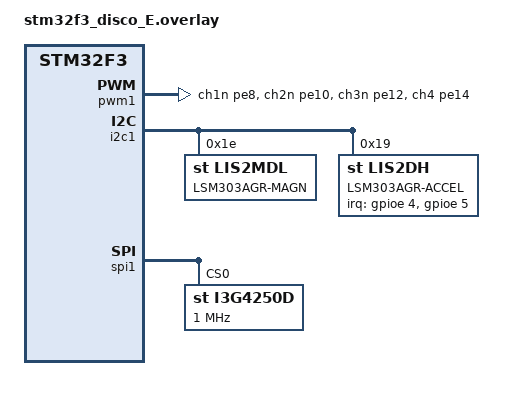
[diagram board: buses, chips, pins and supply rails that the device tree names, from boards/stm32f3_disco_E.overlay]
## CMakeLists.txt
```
# Copyright (c) 2022 Jonathan Hahn
# SPDX-License-Identifier: Apache-2.0

include(cmake/simulate.cmake)

add_subdirectory(drivers)
add_subdirectory(lib)

zephyr_include_directories(include)
zephyr_include_directories(lib)
```

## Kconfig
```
# Copyright (c) 2022 Jonathan Hahn
# SPDX-License-Identifier: Apache-2.0

menu "zephly"

menuconfig ZEPHLY_APP
	bool "The main app of zephly"
	help
	  Enable when building the main app.

if ZEPHLY_APP

config ZEPHLY_GYRO_ORIENTATION
	int "Gyrometer orientation sensor frame to body(drone) frame"
	range 0 1
	default 0
	help
	  This option allows to select the gyrometer orientation.
	  0 - No rotation
	  1 - 180 degree roll

endif # ZEPHLY_APP

rsource "drivers/Kconfig"
rsource "lib/Kconfig"

endmenu
```

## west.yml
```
manifest:
  remotes:
    - name: zephyrproject-rtos
      url-base: https://github.com/zephyrproject-rtos
    - name: private
      url-base: https://github.com/helo9
  projects:
    - name: zephyr
      remote: zephyrproject-rtos
      revision: v3.1.0
      import: true
    - name: jMAVSim
      remote: private
      revision: zephyr
      path: modules/sim/jMAVSim
      submodules: true
    - name: c_library_v2
      remote: private
      revision: zephyr
      path: modules/sim/mavlink
  self:
    path: zephly
```

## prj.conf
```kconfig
CONFIG_STDOUT_CONSOLE=y
CONFIG_I2C=y
CONFIG_SPI=y
CONFIG_GPIO=y
CONFIG_SENSOR=y

CONFIG_NEWLIB_LIBC_FLOAT_PRINTF=y

CONFIG_STD_CPP17=y
CONFIG_LIB_CPLUSPLUS=y
CONFIG_NEWLIB_LIBC=y

CONFIG_SETTINGS=y
CONFIG_SETTINGS_NVS=y

CONFIG_PWM=y

CONFIG_SERIAL=y
CONFIG_UART_INTERRUPT_DRIVEN=y
```

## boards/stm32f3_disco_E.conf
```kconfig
CONFIG_LIS2DH=y
CONFIG_LIS2MDL=y
CONFIG_LIS2MDL_TRIGGER_NONE=n
CONFIG_I3G4250D=y
```

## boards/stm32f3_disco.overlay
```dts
&pwm1 {
    pinctrl-0 = <&tim1_ch1_pa8 &tim1_ch2_pa9 &tim1_ch3_pa10 &tim1_ch4_pe14>;
};
```

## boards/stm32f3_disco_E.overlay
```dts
/ {
    aliases {
        rc-uart = &usart2;
    };
};

&pwm1 {
    //pinctrl-0 = <&tim1_ch1_pa8 &tim1_ch2_pa9 &tim1_ch3_pa10 &tim1_ch4_pe14>;
    pinctrl-0 = <&tim1_ch1n_pe8 &tim1_ch2n_pe10 &tim1_ch3n_pe12 &tim1_ch4_pe14>;
};

&usart2 {
    half-duplex;
};

&i2c1 {
    /delete-node/ lsm303agr-magn@1e;
    /delete-node/ lsm303agr-accel@19;

	mag0: lsm303agr-magn@1e {
		compatible = "st,lis2mdl", "st,lsm303agr-magn";
		reg = <0x1e>;
		label = "LSM303AGR-MAGN";
	};

    acc0: lsm303agr-accel@19 {
		compatible = "st,lis2dh", "st,lsm303agr-accel";
		reg = <0x19>;
		irq-gpios = <&gpioe 4 GPIO_ACTIVE_HIGH>,
			  <&gpioe 5 GPIO_ACTIVE_HIGH>;
		label = "LSM303AGR-ACCEL";
	};
};

&spi1 {
    /delete-node/ i3g4250d@0;
    
    gyro0: i3g4250d@0 {
		compatible = "st,i3g4250d";
		reg = <0>;
		spi-max-frequency = <1000000>;
		label = "I3G4250D";
	};
};
```

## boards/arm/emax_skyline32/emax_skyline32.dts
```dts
/*
 * Copyright (c) 2022 Kevin Dominic Merkel
 *
 * SPDX-License-Identifier: Apache-2.0
 */

/dts-v1/;
#include <st/f1/stm32f103Xb.dtsi>
#include <st/f1/stm32f103c(8-b)tx-pinctrl.dtsi>

/ {
	model = "emax_skyline32 board";
	compatible = "emax,skyline32";

	chosen {
		zephyr,console = &usart1;
		zephyr,shell-uart = &usart1;
		zephyr,sram = &sram0;
		zephyr,flash = &flash0;
	};

	leds {
		compatible = "gpio-leds";
		led0: led_0 {
			gpios = <&gpiob 4 GPIO_ACTIVE_HIGH>;
			label = "User LED0";
		};
	};

	aliases {
		userled0 = &led0;
		debuguart = &usart1;
	};
};

&clk_hse {
	clock-frequency = <DT_FREQ_M(12)>;
	status = "okay";
};

&pll {
	mul = <6>;
	clocks = <&clk_hse>;
	status = "okay";
};

&rcc {
	clocks = <&pll>;
	clock-frequency = <DT_FREQ_M(72)>;
	ahb-prescaler = <1>;
	apb1-prescaler = <2>;
	apb2-prescaler = <1>;
};

&usart1 {
	pinctrl-0 = <&usart1_tx_pa9 &usart1_rx_pa10 >;
	pinctrl-names = "default";
	current-speed = <115200>;
	status = "okay";
};


&usart2 {
	pinctrl-0 = <&usart2_tx_pa2 &usart2_rx_pa3>;
	pinctrl-names = "default";
	current-speed = <115200>;
	status = "disabled";
};

&usart3 {
	pinctrl-0 = <&usart3_tx_pb10 &usart3_rx_pb11>;
	pinctrl-names = "default";
	current-speed = <115200>;
	status = "disabled";
};

&i2c1 {
	pinctrl-0 = < &i2c1_scl_pb8 &i2c1_sda_pb9 >;
	//pinctrl-0 = < &i2c1_scl_pb6 &i2c1_sda_pb7 >;
	status = "disabled";
	pinctrl-names = "default";
	clock-frequency = <I2C_BITRATE_FAST>;


};

&i2c2 {
	pinctrl-0 = < &i2c2_scl_pb10 &i2c2_sda_pb11 >;
	status = "okay";
	pinctrl-names = "default";
	clock-frequency = <I2C_BITRATE_FAST>;

	imu: mpu6050@68 {
		compatible = "invensense,mpu6050";
		reg = <0x68>;
		status = "okay";
		label = "MPU6050";
		int-gpios = <&gpioc 13 GPIO_ACTIVE_HIGH>;
	};
};

&usb {
	pinctrl-0 = <&usb_dm_pa11 &usb_dp_pa12>;
	pinctrl-names = "default";
};
```

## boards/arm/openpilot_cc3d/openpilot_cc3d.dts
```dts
/*
 * Copyright (c) 2021, 2022 Jonathan Hahn
 *
 * SPDX-License-Identifier: Apache-2.0
 */

/dts-v1/;
#include <st/f1/stm32f103Xb.dtsi>
#include <st/f1/stm32f103c(8-b)tx-pinctrl.dtsi>

/ {
	model = "openpilot_cc3d board";
	compatible = "openpilot,cc3d";

	chosen {
		zephyr,console = &usart3;
		zephyr,shell-uart = &usart3;
		zephyr,sram = &sram0;
		zephyr,flash = &flash0;
	};

	leds {
		compatible = "gpio-leds";
		led0: led_0 {
			gpios = <&gpiob 3 GPIO_ACTIVE_HIGH>;
			label = "User LED0";
		};
	};

	aliases {
		userled0 = &led0;
		rc-uart = &usart1;
	};

	pwmout: pwmout {
		compatible = "zephly,pwmout";
		pwms = <&pwm1 4 0 0>, <&pwm1 3 0 0>, <&pwm1 2 0 0>, <&pwm2 1 0 0>;
		label = "PWMOUT";
		status = "okay";
	};
};

&clk_hse {
	clock-frequency = <DT_FREQ_M(8)>;
	status = "okay";
};

&pll {
	mul = <9>;
	clocks = <&clk_hse>;
	status = "okay";
};

&rcc {
	clocks = <&pll>;
	clock-frequency = <DT_FREQ_M(72)>;
	ahb-prescaler = <1>;
	apb1-prescaler = <2>;
	apb2-prescaler = <1>;
};

&usart1 {
	pinctrl-0 = <&usart1_tx_pa9>;
	pinctrl-names = "default";
	current-speed = <115200>;
	status = "okay";
	single-wire;
	rc: srxl2 {
		compatible = "spektrum,srxl2receiver";
		label = "RECEIVER0";
		status = "okay";
	};
};

&usart3 {
	pinctrl-0 = <&usart3_tx_pb10 &usart3_rx_pb11>;
	pinctrl-names = "default";
	current-speed = <115200>;
	status = "okay";
};

&spi1 {
	pinctrl-0 = <&spi1_nss_master_pa4 &spi1_sck_master_pa5
					&spi1_miso_master_pa6 &spi1_mosi_master_pa7>;
	pinctrl-names = "default";
	cs-gpios = <&gpioa 04 GPIO_ACTIVE_LOW>;
	clock-frequency = < DT_FREQ_M(1) >;
	status = "okay";

	imu: mpu6000@0 {
		compatible = "invensense,mpu6000";
		reg = <0>;
		spi-max-frequency = < DT_FREQ_M(1) >;
		label = "MPU-6000";
		status = "okay";
	};
};

&spi2 {
	pinctrl-0 = <&spi2_nss_master_pb12 &spi2_sck_master_pb13
		     &spi2_miso_master_pb14 &spi2_mosi_master_pb15>;
	pinctrl-names = "default";
	status = "okay";
};

&timers1 {
	st,prescaler = <72>;
	pwm2: pwm {
		status = "okay";
		pinctrl-0 = <&tim1_ch1_pwm_pa8>;
		pinctrl-names = "default";
	};
};

&timers2 {
	pwm4: pwm {
		status = "okay";
		pinctrl-0 = <&tim2_ch3_pwm_pa2>;
		pinctrl-names = "default";
	};
};

&timers3 {
	pwm3: pwm {
		status = "okay";
		pinctrl-0 = <&tim3_ch1_remap1_pwm_pb4>;
		pinctrl-names = "default";
	};
};

&timers4 {
	st,prescaler = <72>;
	status = "okay";
	pwm1: pwm {
		status = "okay";
		pinctrl-0 = <&tim4_ch4_pwm_pb9 &tim4_ch3_pwm_pb8 &tim4_ch2_pwm_pb7>;
		pinctrl-names = "default";
	};
};

&usb {
	pinctrl-0 = <&usb_dm_pa11 &usb_dp_pa12>;
	pinctrl-names = "default";
};

&adc1 {
	pinctrl-0 = <&adc1_in0_pa0>;
	pinctrl-names = "default";
};
```

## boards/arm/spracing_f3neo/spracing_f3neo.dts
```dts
/*
 * Copyright (c) 2022 Jonathan Hahn
 *
 * SPDX-License-Identifier: Apache-2.0
 */

/dts-v1/;
#include <st/f3/stm32f303Xc.dtsi>
#include <st/f3/stm32f303r(b-c)tx-pinctrl.dtsi>

/ {
	model = "SPRacing F3 Neo board";
	compatible = "spracing,f3neo";

	soc {
		uart5: serial@40005000 {
			compatible = "st,stm32-uart";
			reg = <0x40005000 0x400>;
			clocks = <&rcc STM32_CLOCK_BUS_APB1 0x00100000>;
			interrupts = <53 0>;
			current-speed = <115200>;
			pinctrl-0 = <&uart5_tx_pc12>;
			pinctrl-names = "default";
			status = "okay";
			label = "UART_5";
		};
	};

    chosen {
		zephyr,console = &uart5;
		zephyr,shell-uart = &uart5;
		zephyr,sram = &sram0;
        zephyr,flash = &flash0;
    };

    leds {
        compatible = "gpio-leds";
		status = "okay";
        led_0: led_0 {
            gpios = <&gpiob 9 (GPIO_LINE_OPEN_DRAIN | GPIO_ACTIVE_HIGH)>;
			label = "User LED0";
			status = "okay";
        };
        led_1: led_1 {
            gpios = <&gpiob 2 (GPIO_LINE_OPEN_DRAIN | GPIO_ACTIVE_HIGH)>;
			label = "User LED1";
			status = "okay";
        };
    };

	aliases {
		led0 = &led_0;
		led1 = &led_1;
	};

	pwmout: pwmout {
		compatible = "zephly,pwmout";
		pwms = <&pwm3 4 0 0>, <&pwm3 2 0 0>, <&pwm3 3 0 0>, <&pwm3 1 0 0>;
		label = "PWMOUT";
		status = "okay";
	};
};

&clk_hse {
	clock-frequency = <DT_FREQ_M(8)>;
	status = "okay";
};

&pll {
	prediv = <1>;
	mul = <9>;
	clocks = <&clk_hse>;
	status = "okay";
};

&rcc {
	clocks = <&pll>;
	clock-frequency = <DT_FREQ_M(72)>;
	ahb-prescaler = <1>;
	apb1-prescaler = <2>;
	apb2-prescaler = <1>;
};

&usart2 {
	pinctrl-0 = <&usart2_tx_pa2 &usart2_rx_pa3>;
	pinctrl-names = "default";
	current-speed = < 115200 >;
    parity = "even";
    rx-invert;
	status = "okay";
	rc: sbus {
        compatible = "futaba,sbusreceiver";
        label = "RECEIVER0";
        status = "disabled";
    };
};

&spi1 {
	pinctrl-0 = <&spi1_nss_pa4 &spi1_sck_pa5
		     &spi1_miso_pa6 &spi1_mosi_pa7>;
	cs-gpios = <&gpioa 4 GPIO_ACTIVE_LOW>;
	pinctrl-names = "default";
	status = "okay";

	imu: mpu6500@0 {
		compatible = "invensense,icm20602";
		reg = <0>;
		spi-max-frequency = < DT_FREQ_K(300) >;
		int-gpios = <&gpioc 13 GPIO_ACTIVE_HIGH>;
		label = "MPU-6500";
		status = "okay";
	};
};

&timers3 {
	status = "okay";
	st,prescaler = <72>;
	pwm3: pwm {
		status = "okay";
		pinctrl-0 = <&tim3_ch1_pc6 &tim3_ch2_pc7 &tim3_ch3_pb0 &tim3_ch4_pb1>;
		pinctrl-names = "default";
	};
};
```

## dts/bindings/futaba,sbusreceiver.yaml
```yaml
# Copyright (c) 2022 Jonathan Hahn
# SPDX-License-Identifier: Apache-2.0

description: Futaba SBUS Receiver

compatible: "futaba,sbusreceiver"

include: uart-device.yaml
```

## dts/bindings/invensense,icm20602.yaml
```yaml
# Copyright (c) 2019 Jonathan Hahn
# SPDX-License-Identifier: Apache-2.0

description: ICM-20602 high performance 6-Axis MEMS Motion Tracking

compatible: "invensense,icm20602"

include: spi-device.yaml

properties:
    int-gpios:
      type: phandle-array
      required: false
      description: |
        The INT signal default configuration is active-high.  The
        property value should ensure the flags properly describe the
        signal that is presented to the driver.
```

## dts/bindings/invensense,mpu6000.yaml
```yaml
# Copyright (c) 2019 Jonathan Hahn
# SPDX-License-Identifier: Apache-2.0

description: MPU-6000 motion tracking device

compatible: "invensense,mpu6000"

include: spi-device.yaml

properties:
    int-gpios:
      type: phandle-array
      required: false
      description: |
        The INT signal default configuration is active-high.  The
        property value should ensure the flags properly describe the
        signal that is presented to the driver.
```

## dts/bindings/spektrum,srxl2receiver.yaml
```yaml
# Copyright (c) 2022 Jonathan Hahn
# SPDX-License-Identifier: Apache-2.0

description: Sprektrum SRXL2 Receiver

compatible: "spektrum,srxl2receiver"

include: uart-device.yaml
```

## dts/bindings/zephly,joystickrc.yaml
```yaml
# Copyright (c) 2022 Jonathan Hahn
# SPDX-License-Identifier: Apache-2.0

description: Virtual RC Receiver

compatible: "zephly,joystickrc"
```

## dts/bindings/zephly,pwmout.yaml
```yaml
# Copyright (c) 2022 Jonathan Hahn
# SPDX-License-Identifier: Apache-2.0

description: PWM Output

compatible: "zephly,pwmout"

include: base.yaml

properties:
    pwms:
      required: false
      type: phandle-array
      description: PWM specifier driving the outputs.
    
    min-pulse:
      required: false
      type: int
      description: Minimum pulse width (nanoseconds).

    max-pulse:
      required: false
      type: int
      description: Maximum pulse width (nanoseconds).
```

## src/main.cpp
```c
#include "sensors.hpp"
#include "kernel.h"
#include <device.h>
#include <stdio.h>
#include <zephyr.h>
#include <math.h>

#include <attitude_estimation.hpp>
#include "pwm.hpp"
#include "rc/rc.hpp"

constexpr double DEG2RAD = 0.017453292519943295;

using namespace AttitudeEstimation;

const float outputs[] = {0.5f, 0.5f, 0.5f, 0.5f};
RCInput rc_input;

void report_state(const Quaternion<double> &q, const Vector<double, 3> &w, const Vector<double, 3> &a);

int main() {

	if(rc_init() < 0) {
	printk("RC Initialization failed!\n");
	return -1;
	}

	if (!initialize_sensors() || !pwm().is_ready()) {
	printk("Initialization failed!");
	return -1;
	}

	pwm().write(outputs);

	/* initial attitude */
	Quaternion<double> q = {1.0, 0.0, 0.0, 0.0};

	rc_run();
	
	pwm().hack_it();
	
	while (true) {

		rc_input = rc_get();

		if (!update_measurements()) {
			/* Something went wrong, try again */
			printf("Update failed!");
			continue;
		}

		propagate_attitude<double>(q, get_rotation_speed(), get_delta_t());

		report_state(q, get_rotation_speed(), get_accelerations());

		k_sleep(K_MSEC(500));
	}

	return 0;
}

void report_state(const Quaternion<double> &q, const Vector<double, 3> &w, const Vector<double, 3> &a) {
	printf("%f %f %f %f", q.w, q.x, q.y, q.z);
	printf(" %u %f %f %f", k_uptime_get_32(), w.data[0], w.data[1], w.data[2]);
	printf(" %f %f %f \n", a.data[0], a.data[1], a.data[2]);
}
```

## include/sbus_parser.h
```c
/*
 * Copyright (c) 2022 Jonathan Hahn
 *
 * SPDX-License-Identifier: Apache-2.0
 */

#ifndef SBUS_PARSER_H
#define SBUS_PARSER_H

#include <stdbool.h>
#include <stdint.h>

#define SBUS_RECV_BUFFER_SIZE 25
#define SBUS_NUM_SERVO_CHANNELS 16
#define SBUS_NUM_DIGI_CHANNELS 2

struct SBusBuffer {
    uint8_t pointer;
    uint8_t data[SBUS_RECV_BUFFER_SIZE];
};

struct SBusData {
    uint16_t servo_channels[SBUS_NUM_SERVO_CHANNELS];
    bool digital_channels[SBUS_NUM_DIGI_CHANNELS];
    bool frame_lost;
    bool failsafe_active;
};

struct SBusParsingCursor {
    int byte_pos;
    int bit_pos;
};

/**
 * @brief Check if the parser's buffer is full
 * 
 * @param parser the instance
 * @return true full
 * @return false not full
 */
bool sbus_is_buffer_full(struct SBusBuffer *buffer);

/**
 * @brief Add byte into the parser's buffer
 * 
 * @param parser the instance
 * @param byte byte to append
 * @return int 0 when succesful, -errno otherwise
 */
int sbus_add_to_buffer(struct SBusBuffer *buffer, const uint8_t byte);

/**
 * @brief Parse the parser's internal buffer
 * 
 * @param parser the instance
 * @param data extracted data
 * @return int 0 when succesful, -errno otherwise
 */
int sbus_parse_buffer(struct SBusBuffer *buffer, struct SBusData *data);

#endif /* SBUS_PARSER_H */
```

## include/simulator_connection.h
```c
/*
 * Copyright (c) 2022 Jonathan Hahn
 *
 * SPDX-License-Identifier: Apache-2.0
 */

#ifndef ZEPHLY_SIMULATOR_CONNECTION_H
#define ZEPHLY_SIMULATOR_CONNECTION_H

#include <stdbool.h>

bool simulator_is_ready();

void simulator_send_outputs(const float outputs[4]);

int simulator_update_sensor_values(float gyro[3]);

#endif
```

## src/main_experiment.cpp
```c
#include <zephyr.h>
#include "irq.h"
#include "kernel.h"
#include <device.h>
#include <stdio.h>
#include <devicetree.h>
#include <drivers/pwm.h>
#include <drivers/gpio.h>
#include <drivers/uart.h>
#include <irq.h>


#define USART2_DEVICE DT_NODELABEL(usart2)

const struct device* usart2 = DEVICE_DT_GET(USART2_DEVICE);

char buffer[256] = {};
volatile uint8_t buffer_idx = 0;
uint32_t time, maxtime = 0;

static void uart_cb_handler(const struct device *dev, void *p)
{
    time = k_cycle_get_32();
	uart_irq_update(dev);

    if (uart_irq_rx_ready(dev)) {
        
        uint8_t c;

        uart_fifo_read(dev, &c, 1);

        if (buffer_idx == 0 && c != 0xA6) {
            return;
        }

        buffer[buffer_idx++] = c;
    }
}

int init_uart() {
    if (!device_is_ready(usart2)) {
        return -EIO;
    }

    uart_irq_rx_disable(usart2);
	uart_irq_tx_disable(usart2);
    uart_irq_callback_user_data_set(usart2, uart_cb_handler, NULL);
    uart_irq_rx_enable(usart2);

    return 0;
}

void main() {


    if (init_uart() < 0){
        printk("USART is not ready!");
        return;
    }

    while (true) {
        uart_irq_rx_disable(usart2);
        printk("recvd: %d, took: %d\n", buffer_idx, maxtime);
        buffer_idx = 0;
        for (int i = 0; i<159; i++) {
            if (buffer[i] == 0xA6 && i > 0) {
                printk("\n");
            } 
            printk("0x%x "  , buffer[i]);
        }
        printk("\n");

        

        uart_irq_rx_enable(usart2);
        k_sleep(K_MSEC(11));
    }
}
```

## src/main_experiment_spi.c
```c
#include <zephyr.h>
#include <zephyr.h>
#include "irq.h"
#include "kernel.h"
#include "sys/util.h"
#include <device.h>
#include <stdio.h>
#include <devicetree.h>
#include <drivers/spi.h>

#define WHO_AM_I_REG 0x75

#define LED_NODE DT_ALIAS(userled0)
#define LED_GPIO DT_PHANDLE(LED_NODE, gpios)
#define PIN	DT_GPIO_PIN(LED_NODE, gpios)

#define SPI1 DT_NODELABEL(spi1)
#define SPI1_CS DT_NODELABEL(gpioa)
#define MPU6000 DT_NODELABEL(imu)
#define SPI1_CS_PIN 4

const struct device *led = DEVICE_DT_GET(LED_GPIO);
const struct device *spi1 = DEVICE_DT_GET(DT_BUS(MPU6000));

struct spi_config spi_cfg = SPI_CONFIG_DT(MPU6000, SPI_OP_MODE_MASTER | SPI_WORD_SET(8), 0);

int request_wai(const struct device* spi1);

void main() {

    bool led_is_on = true;

    if (!device_is_ready(led)) {
        printk("LED is not ready!");
        return;
    }

    int ret = gpio_pin_configure(led, 3, GPIO_OUTPUT_HIGH | GPIO_ACTIVE_HIGH);
    if (ret < 0) {
        return;
    }

    if (!device_is_ready(spi1)) {
        printk("SPI is not ready!");
        return;
    }

    while (true) {
        printk("Noch da :)\n");

        ret = gpio_pin_set(led, PIN, (int)led_is_on );
        led_is_on = !led_is_on;

        ret = request_wai(spi1);

        if (ret != 0) {
            printk("Probleme probleme probleme.. (%d)\n", ret);
            ret = 0;
        }
        
        k_sleep(K_MSEC(1000));
    }
}

int request_wai(const struct device* spi1) {

    uint8_t buffer_tx[] = {0xF5, 0x00};
    uint8_t buffer_rx[2] = {};

    struct spi_buf tx_bufs;
    tx_bufs.buf = buffer_tx;
    tx_bufs.len = 2;
    const struct spi_buf_set tx = {
		.buffers = &tx_bufs,
		.count = 1
	};

    struct spi_buf rx_bufs;
    rx_bufs.buf = buffer_rx;
    rx_bufs.len = 2;
    const struct spi_buf_set rx = {
        .buffers = &rx_bufs,
        .count = 1
    };

    int ret = spi_transceive(spi1, &spi_cfg, &tx, &rx);

    if (ret == 0) {
        printk("WAI: %d\n", buffer_rx[1]);
    }

    return ret;
}
```

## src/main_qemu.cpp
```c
#include "settings.hpp"
#include <sys/printk.h>
#include <zephyr.h>

int main() {
    settings().init();

    const float petra = settings().get<float>("Petra", 0.0);
    const int peter = settings().get<int>("Peter", 0);

    printk("Hallo\t%f\t%d!\n", petra, peter);
    k_sleep(K_MSEC(5000));

    return 0;
}
```

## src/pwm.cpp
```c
#include "pwm.hpp"
#include <zephyr.h>
#include <drivers/pwm.h>

PWM::PWM(const struct device* pwm_dev) : _pwm_dev(pwm_dev) {};

bool PWM::is_ready() const {
    return device_is_ready(_pwm_dev);
}

void PWM::write(const float (&outputs)[4]) {
    if (!is_ready()) {
        return;
    }

    for (int i=0; i<4; i++) {
        uint32_t pulse = _min_duty + static_cast<uint32_t>( (_max_duty - _min_duty) * outputs[i]);
        pwm_pin_set_usec(_pwm_dev, i+1, _period, pulse, 0);
    }

#ifdef CONFIG_BOARD_STM32F3_DISCO
    // Put correct configuration into stm32f303 register..
    volatile int * volatile reg = (volatile int*)0x40012C20;
    *reg = 0x1444;
#endif
}
```

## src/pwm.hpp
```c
#include <device.h>

#define PWM_DEVICE DT_NODELABEL(pwm1)

class PWM {

    static constexpr uint32_t _period = 20000; // 50 Hz update rate
    static constexpr uint32_t _min_duty = 1000; // 1ms minimal duty cycle
    static constexpr uint32_t _max_duty = 2000; // 2ms maximal duty cycle

public:
    PWM(PWM const&)		        = delete;
	void operator=(PWM const&)  = delete;

    static PWM& getInstance() {
        static PWM pwm(DEVICE_DT_GET(PWM_DEVICE));

        return pwm;
    }

    bool is_ready() const;
    
    void write(const float (&outputs)[4]);

private:
    PWM(const struct device* pwm_dev);

    const struct device* _pwm_dev;
};

constexpr auto pwm = PWM::getInstance;
```

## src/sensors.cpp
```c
#include "sensors.hpp"
#include <drivers/sensor.h>

using namespace AttitudeEstimation;

#define GYRO_DEV DT_NODELABEL(gyro0)
#define MAG_DEV DT_NODELABEL(mag0)
#define ACC_DEV DT_NODELABEL(acc0)

#define NODE_OKAY(node_id) (DT_NODE_EXISTS(node_id) && DT_NODE_HAS_STATUS(node_id, okay))

constexpr double SAMPLING_FREQUENCY = 400.0;
constexpr double DEG2RAD = 0.017453292519943295;

static Measurements measurements {};

#if NODE_OKAY(GYRO_DEV) && NODE_OKAY(MAG_DEV) && NODE_OKAY(ACC_DEV)

static Sensors sensors {
    DEVICE_DT_GET_ONE(st_i3g4250d),
    DEVICE_DT_GET_ONE(st_lsm303agr_magn),
    DEVICE_DT_GET_ONE(st_lsm303agr_accel)
};

bool initialize_sensors() {
  /* ensure device is ready */
  if (!device_is_ready(sensors.gyro) || !device_is_ready(sensors.mag) || !device_is_ready(sensors.accel)) {
    return false;
  }

  /* configure sampling frequency of gyro */
  struct sensor_value setting;
  sensor_value_from_double(&setting, SAMPLING_FREQUENCY);

  int rc = sensor_attr_set(sensors.gyro, SENSOR_CHAN_GYRO_XYZ,
                           SENSOR_ATTR_SAMPLING_FREQUENCY, &setting);

  if (rc != 0) {
    return false;
  }

  return true;
}

bool update_measurements() {
  static int64_t last_time = 0;

  int rc;

  struct sensor_value raw_measurements[3];

  for (int i=0; i<3; i++) {
    rc = sensor_sample_fetch(sensors.array[i]);
    if (rc != 0) {
      return false;
    }
  }

  rc = sensor_channel_get(sensors.gyro, SENSOR_CHAN_GYRO_XYZ, raw_measurements);
  if (rc != 0) {
    return false;
  }

  for (int i = 0; i < 3; i++) {
    measurements.rotation_speed.data[i] = sensor_value_to_double(&raw_measurements[i]) * DEG2RAD;
  }

  rc = sensor_channel_get(sensors.mag, SENSOR_CHAN_MAGN_XYZ, raw_measurements);
  if (rc != 0) {
    return false;
  }

  for (int i = 0; i < 3; i++) {
    measurements.mag_field.data[i] = sensor_value_to_double(&raw_measurements[i]);
  }

  rc = sensor_channel_get(sensors.accel, SENSOR_CHAN_ACCEL_XYZ, raw_measurements);
  if (rc != 0) {
    return false;
  }

  for (int i = 0; i < 3; i++) {
    measurements.accelerations.data[i] = sensor_value_to_double(&raw_measurements[i]);
  }

  int64_t now = k_uptime_get();
  if ( last_time != 0 ) {
    measurements.delta_t = (now - last_time) / 1e3;
    last_time = now;
  } else {
    last_time = now;
    return false;
  }

  return true;
}
#else

bool initialize_sensors() {
  return true;
}

bool update_measurements() {
  return true;
}

#endif

const Vector<double, 3>& get_rotation_speed() {
    return measurements.rotation_speed;
}

const Vector<double, 3>& get_mag_field() {
    return measurements.mag_field;
}

const Vector<double, 3>& get_accelerations() {
  return measurements.accelerations;
}

const double& get_delta_t() {
    return measurements.delta_t;
}
```

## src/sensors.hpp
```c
#ifndef SENSORS_HPP
#define SENSORS_HPP

#include <attitude_propagation.hpp>
#include <device.h>
#include <zephyr.h>

union Sensors {
    /* TODO: unnamed struct in union is not covered by c++ standard.. */
    struct {
        const struct device* gyro;
        const struct device* mag;
        const struct device* accel;
    };
    const struct device* array[3];
};

struct Measurements {
    ahrs::Vector<double, 3> rotation_speed;
    ahrs::Vector<double, 3> mag_field;
    ahrs::Vector<double, 3> accelerations;
    double delta_t;
};

bool initialize_sensors();

bool update_measurements();

const ahrs::Vector<double, 3>& get_rotation_speed();
const ahrs::Vector<double, 3>& get_mag_field();
const ahrs::Vector<double, 3>& get_accelerations();
const double& get_delta_t();

#endif /* SENSORS_HPP */
```

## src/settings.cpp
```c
#include "settings.hpp"

#include <string.h>
#include <zephyr.h>
#include <settings/settings.h>
#include <sys/printk.h>


int Settings::init() {
    int rc =  settings_subsys_init();
    
    if (rc!=0) {
        return rc;
    }

    _storage[0] = Parameter::create_parameter<float>("Petra", 1.0f);
    _storage[1] = Parameter::create_parameter<int>("Peter", 1);

    //settings_register();
    return settings_load();
}

void Parameter::set_name(const char name[]) {
    size_t input_name_len = strlen(name);
    strncpy(this->name, name, (LEN_NAME<input_name_len)?LEN_NAME:input_name_len);
}

template<>
float& Parameter::_select_member<float>() {
	return value.float_val;
}

template<>
double& Parameter::_select_member<double>() {
	return value.double_val;
}

template<>
int& Parameter::_select_member<int>() {
	return value.int_val;
}
```

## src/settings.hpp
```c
#ifndef SETTINGS_HPP
#define SETTINGS_HPP

#include <sys/printk.h>
#include <cstring>
#include <optional>

struct Parameter {
	static constexpr size_t LEN_NAME = 15;
	char name[LEN_NAME] = "empty";
	union {
		int int_val;
		float float_val;
		double double_val;
	} value {0};

	template<class T>
	static Parameter create_parameter(const char name[], T val) {

		Parameter p{};
		
		p.set_name(name);

		p._select_member<T>() = val;

		return p;
	}

	template<class T>
	const T& select_member(){
		return this->_select_member<T>();
	}

private:
	void set_name(const char name[]);

	template<class T>
	T& _select_member();
};


class Settings {
	
	static constexpr size_t STORAGE_SIZE = 15;

public:
	static Settings& getInstance(){
		static Settings instance;

		return instance;
	}
	Settings(Settings const&)		= delete;
	void operator=(Settings const&) = delete;

	int init();
	
	template<class T>
	const T get(const char str[], T default_value) {
		for (auto param : _storage) {
			printk("%s - %s -- %d\n", param.name, str, std::strcmp(str, param.name));
			if (std::strcmp(str, param.name) == 0) {
				return param.select_member<T>();
			}
		}
		return default_value;
	}

	template<class T>
	const T define(const char str[], T default_value) {
		/* Try to find param */
		size_t i = 0;
		for (auto param : _storage) {
			if (std::strcmp(str, param.name) == 0) {
				return param.select_member<T>();
			}

			/* there are no further parameters saved, abort */
			if (i++ > _storage_position) {
				break;
			}
		}

		/* Add entry */
		_storage[_storage_position++] = Parameter::create_parameter(str, default_value);
		
		return default_value;
	}
private:
	Settings() {}

	float param1=1.0f;

	Parameter _storage[STORAGE_SIZE];
	size_t _storage_position = 0;
};

constexpr auto settings = Settings::getInstance;

#endif // SETTINGS_HPP
```
